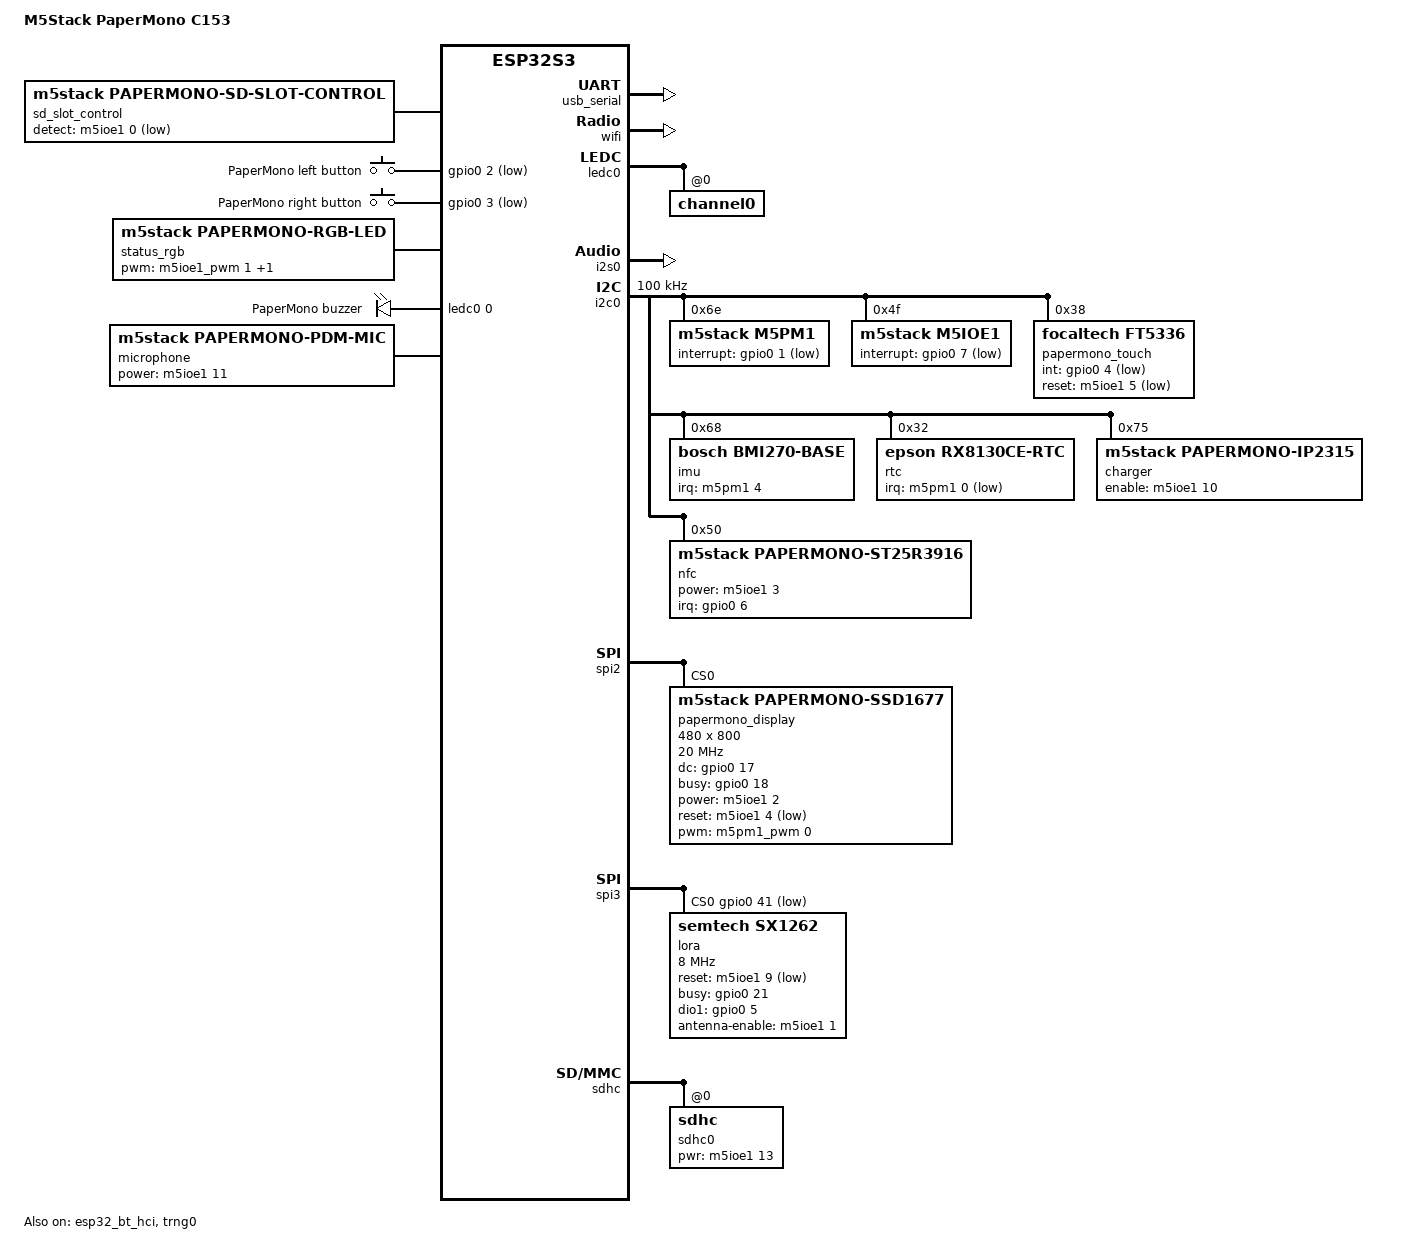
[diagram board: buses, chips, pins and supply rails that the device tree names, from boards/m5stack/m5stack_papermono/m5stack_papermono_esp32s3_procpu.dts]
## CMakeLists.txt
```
# SPDX-License-Identifier: MIT

cmake_minimum_required(VERSION 3.20.0)

list(APPEND BOARD_ROOT ${CMAKE_CURRENT_SOURCE_DIR})

find_package(Zephyr REQUIRED HINTS $ENV{ZEPHYR_BASE})
project(papermono_lvgl)

include(cmake/esp32_ble_compat.cmake)
include(cmake/xtensa_irq_exit_compat.cmake)

if(CONFIG_BT_ESP32 AND (CONFIG_SOC_SERIES_ESP32S3 OR CONFIG_SOC_SERIES_ESP32C3))
  target_sources(app PRIVATE src/papermono_esp_radio_compat.c)
endif()

if(CONFIG_WIFI_ESP32 AND CONFIG_SOC_SERIES_ESP32S3)
  target_sources(app PRIVATE src/papermono_esp_wifi_compat.c)
  target_link_options(app PUBLIC -Wl,--wrap=ap_try_sa_query_process)
endif()

target_sources(app PRIVATE
  src/main.c
  src/papermono_app.c
  src/papermono_interaction.c
  src/papermono_touch_gesture.c
  src/papermono_touchpad.c
  src/papermono_frontlight.c
  src/papermono_status_led.c
  src/papermono_content_store.c
  src/papermono_fs_read.c
  src/papermono_archive_safety.c
  src/papermono_content_validation.c
  src/papermono_display_scheduler.c
  src/papermono_refresh_policy.c
  src/papermono_epub.c
  src/papermono_reader.c
  src/papermono_reader_cache.c
  src/papermono_personal_data.c
  src/papermono_organizer.c
  src/papermono_weread.c
  src/papermono_weread_view.c
  src/papermono_info_provider.c
  src/papermono_text_codec.c
  src/papermono_text_layout.c
  src/papermono_zip_reader.c
  src/generated/papermono_gbk_table.c
  src/generated/papermono_cjk_16.c
  src/generated/papermono_clock_148.c
  src/generated/papermono_reading_24.c
  src/generated/papermono_heading_48.c
  src/generated/papermono_state_40.c
  src/generated/papermono_icon_library.c
  src/generated/papermono_icon_weread.c
  src/generated/papermono_icon_calendar.c
  src/generated/papermono_selftest_epub.c
  src/generated/papermono_icon_tasks.c
  src/generated/papermono_icon_notes.c
  src/generated/papermono_icon_remote.c
  src/generated/papermono_icon_content.c
  src/generated/papermono_icon_info.c
  src/generated/papermono_icon_tools.c
  src/generated/papermono_icon_settings.c
  src/generated/papermono_icon_power.c
  src/generated/papermono_icon_sleep.c
  src/generated/papermono_icon_bookmark.c
  src/generated/papermono_icon_document.c
  src/generated/papermono_icon_wifi.c
  src/generated/papermono_icon_bluetooth.c
  src/generated/papermono_icon_restore.c
  src/generated/papermono_icon_book_small.c
  src/generated/papermono_icon_headphones_small.c
  src/generated/papermono_icon_bookmark_small.c
  src/generated/papermono_icon_settings_small.c
  src/generated/papermono_icon_sun_small.c
  src/generated/papermono_icon_toc_small.c
  src/generated/papermono_icon_return_small.c
  src/generated/papermono_icon_library_small.c
  src/generated/papermono_icon_document_small.c
  src/generated/papermono_icon_info_small.c
  src/generated/papermono_icon_library_focal.c
  src/generated/papermono_icon_weread_focal.c
  src/generated/papermono_icon_calendar_focal.c
  src/generated/papermono_icon_tasks_focal.c
  src/generated/papermono_icon_document_focal.c
  src/generated/papermono_icon_bookmark_focal.c
  src/generated/papermono_icon_wifi_focal.c
  src/papermono_settings.c
  src/papermono_power_state.c
  src/m5ioe1.c
  src/m5ioe1_pwm.c
  src/m5pm1.c
  src/m5pm1_pwm.c
  src/papermono_rgb_led.c
  src/papermono_ssd1677.c
  src/papermono_ui.c
  src/papermono_almanac.c
  src/papermono_quotes.c
  src/papermono_wifi_input.c
)

target_sources_ifdef(CONFIG_PAPERMONO_FT6336 app PRIVATE
  src/papermono_ft6336.c
  src/papermono_touch_transform.c
)

target_sources_ifdef(CONFIG_PAPERMONO_CONTENT_SERVER app PRIVATE
  src/papermono_content_server.c
  src/papermono_http_codec.c
)

target_sources_ifdef(CONFIG_PAPERMONO_TIME_SYNC app PRIVATE
  src/papermono_time_sync.c
)

target_sources_ifdef(CONFIG_PAPERMONO_BLE_HID app PRIVATE
  src/papermono_hid.c
  src/papermono_hid_reports.c
)

target_sources_ifdef(CONFIG_PAPERMONO_RSS app PRIVATE
  src/papermono_rss.c
  src/papermono_rss_table.c
)

target_sources_ifdef(CONFIG_PAPERMONO_WEATHER app PRIVATE
  src/papermono_weather.c
)

target_sources_ifdef(CONFIG_PAPERMONO_BLE_SYNC app PRIVATE
  src/papermono_sync.c
)

target_sources_ifdef(CONFIG_PAPERMONO_BLE_MIC app PRIVATE
  src/papermono_adpcm.c
  src/papermono_ble_mic.c
)

if(CONFIG_PAPERMONO_CONTENT_SERVER)
  set(papermono_generated_dir ${ZEPHYR_BINARY_DIR}/include/generated)
  generate_inc_file_for_target(app
    src/web/content-center.html
    ${papermono_generated_dir}/papermono_content_center.html.inc
  )
  zephyr_linker_sources(SECTIONS sections-rom.ld)
endif()

target_sources_ifdef(CONFIG_PAPERMONO_DRIVER_SELFTEST app PRIVATE
  src/papermono_driver_selftest.c
)

target_sources_ifdef(CONFIG_PAPERMONO_IP2315 app PRIVATE
  src/papermono_ip2315.c
)

target_sources_ifdef(CONFIG_PAPERMONO_ST25R3916 app PRIVATE
  src/papermono_st25r3916.c
)

target_sources_ifdef(CONFIG_PAPERMONO_PDM_MIC app PRIVATE
  src/papermono_pdm_mic.c
)

target_sources_ifdef(CONFIG_PAPERMONO_RX8130_TIMER app PRIVATE
  src/papermono_rx8130.c
)

target_sources_ifdef(CONFIG_PAPERMONO_POWER_CONTROL app PRIVATE
  src/papermono_power.c
)

zephyr_include_directories(include)
target_include_directories(app PRIVATE include)
```

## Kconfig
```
mainmenu "M5Stack PaperMono LVGL application"

source "Kconfig.zephyr"

menu "PaperMono application"

config PAPERMONO_MFD_INIT_PRIORITY
	int
	default 60
	range 51 84
	help
	  Initialize I2C-backed board controllers after the ESP32 I2C bus and
	  before their child functions and the display.

config PAPERMONO_MFD_CHILD_INIT_PRIORITY
	int
	default 70
	range 61 84
	help
	  Initialize M5IOE1/M5PM1 child functions after their parent devices.

config PAPERMONO_BOARD_FUNCTION_INIT_PRIORITY
	int
	default 80
	range 71 84
	help
	  Initialize board functions that consume M5IOE1/M5PM1 child devices.

config PAPERMONO_PARTIAL_REFRESH
	bool "Use the SSD1677 built-in monochrome partial-refresh waveform"
	default y
	help
	  Use the controller's OTP partial-refresh sequence after a successful
	  monochrome full refresh has established the differential RAM baseline.

config PAPERMONO_PARTIAL_REFRESH_LIMIT
	int "Partial refreshes before a maintenance full refresh"
	default 10
	range 1 20
	depends on PAPERMONO_PARTIAL_REFRESH
	help
	  Maximum number of consecutive partial refreshes. The following update
	  uses a full refresh to limit ghosting and DC imbalance. Keep this at the
	  panel vendor's recommendation (10) unless a long ghosting soak proves a
	  different value safe.

config PAPERMONO_MAINTENANCE_OPPORTUNISTIC
	bool "Perform the maintenance full refresh at a natural page transition"
	default n
	depends on PAPERMONO_PARTIAL_REFRESH
	help
	  When one partial refresh remains before PAPERMONO_PARTIAL_REFRESH_LIMIT,
	  perform the maintenance full refresh on the next non-FAST render (page
	  navigation, menu, page exit, sleep) instead of waiting for the next FAST
	  page turn. It moves the visible full flash to a transition the user
	  already expects; it does not raise the refresh limit. Continuous reading
	  with no page transition still reaches the normal limit.

config PAPERMONO_FULL_REFRESH_COMPACT
	bool "Use the single-command SSD1677 Mode-1 full refresh"
	default n
	depends on PAPERMONO_PARTIAL_REFRESH
	help
	  Replace the two-stage 0xF8 synchronize plus 0x14 OTP refresh with one
	  self-contained 0xF4 Mode-1 sequence. It removes one activation and a
	  redundant 48 KiB RAM write, but changes the panel command sequence and
	  must be re-validated on hardware before enabling.

config PAPERMONO_PARTIAL_DEMO
	bool "Periodically update the dashboard for partial-refresh HIL testing"
	default n
	depends on PAPERMONO_PARTIAL_REFRESH
	help
	  Update the clock and footer repeatedly so the physical partial-refresh
	  path can be verified. Keep this disabled in normal firmware builds.

config PAPERMONO_PARTIAL_DEMO_INTERVAL_MS
	int "Partial-refresh demo interval in milliseconds"
	default 3000
	range 1000 60000
	depends on PAPERMONO_PARTIAL_DEMO

config PAPERMONO_PARTIAL_DEMO_UPDATES
	int "Number of demo updates"
	default 12
	range 1 20
	depends on PAPERMONO_PARTIAL_DEMO

config PAPERMONO_FT6336
	bool "PaperMono FT6336 touch controller"
	default y
	depends on INPUT && I2C && GPIO
	select INPUT_TOUCH
	help
	  Use the C153-specific FT6336 bring-up and polling path.  The controller
	  shares the board I2C bus, while its power/reset lines are provided by
	  M5IOE1 and its active-low wake interrupt is ESP32-S3 GPIO4.  The driver
	  keeps GPIO4 pulled up in polling mode, retries the post-reset probe, and
	  releases stale contacts after transient I2C failures.

config PAPERMONO_FT6336_POLL_INTERVAL_MS
	int "FT6336 polling interval in milliseconds"
	default 8
	range 5 50
	depends on PAPERMONO_FT6336
	help
	  Sample touch from a dedicated driver thread. Eight milliseconds matches
	  the proven CrossMux C153 input cadence and catches short taps reliably.

config PAPERMONO_FT6336_THREAD_STACK_SIZE
	int "FT6336 polling thread stack size"
	default 4096
	range 2048 8192
	depends on PAPERMONO_FT6336
	help
	  Stack used by the dedicated polling thread and synchronous Zephyr input
	  callbacks. The global system workqueue is intentionally not used.

config PAPERMONO_FT6336_THREAD_PRIORITY
	int "FT6336 polling thread priority"
	default 8
	range 0 14
	depends on PAPERMONO_FT6336
	help
	  Preemptible Zephyr priority used by the touch polling thread.

config PAPERMONO_HIL_FAKE_UNFORMATTED
	bool "HIL: present the TF format UI without touching the card"
	default n
	depends on FILE_SYSTEM
	help
	  Verification-only option for the on-device acceptance walkthrough.
	  The store reports an unformatted card so the system page exposes the
	  format entry, and the confirmation is simulated instead of running
	  fs_mkfs, so the mounted card and its files are left intact. Never
	  enable this in a shipped image.

config PAPERMONO_TF_FORMAT_WHEN_UNFORMATTED
	bool "Format an unformatted TF card at boot (DESTRUCTIVE)"
	default n
	depends on FILE_SYSTEM_MKFS && FS_FATFS_MKFS
	help
	  Create a fresh super-floppy FAT filesystem on the TF card when it
	  carries no filesystem this firmware can mount (for example a card that
	  shipped exFAT or GPT-partitioned). Every partition and file on the card
	  is erased.

	  Do not enable this in a normal build: it is meant for first-time
	  provisioning of a known-blank card, mirroring the explicit-opt-in HIL
	  profiles used for the other risky board actions.

config PAPERMONO_DRIVER_SELFTEST
	bool "Run the interactive PaperMono driver HIL self-test"
	default n
	depends on DISPLAY && INPUT && SENSOR && RTC && LED && LORA && WIFI
	depends on DISK_ACCESS && PWM
	depends on PAPERMONO_IP2315 && PAPERMONO_ST25R3916 && PAPERMONO_PDM_MIC
	help
	  Exercise all board devices used by the fixed self-test image, including
	  the optional charger, NFC and microphone drivers, then log touch and
	  button events. Keep this disabled in normal firmware builds.

config PAPERMONO_INTERACTIVE_UI
	bool "Enable the PaperMono personal information terminal UI"
	default y
	depends on INPUT && !PAPERMONO_DRIVER_SELFTEST && !PAPERMONO_PARTIAL_DEMO
	help
	  Enable the application router, Chinese home/launcher, reader, content,
	  organizer, HID, information-card, tools, power, and settings pages.
	  Input callbacks only enqueue actions; LVGL rendering and the physical
	  e-paper refresh remain serialized in the main thread.

config PAPERMONO_UI_AUTO_REFRESH_MINUTES
	int "Interactive UI automatic refresh interval in minutes"
	default 5
	range 0 60
	depends on PAPERMONO_INTERACTIVE_UI
	help
	  Refresh live RTC and PMIC values after this many idle minutes. Set to
	  zero to update only after a button or touch action. A longer interval
	  reduces e-paper activity and power use.

config PAPERMONO_UI_THREAD_PRIORITY
	int "Interactive UI thread priority"
	default 10
	range 1 14
	depends on PAPERMONO_INTERACTIVE_UI
	help
	  Priority applied when the main thread starts the UI. Keep the numeric
	  value greater than FT6336_THREAD_PRIORITY so LVGL layout cannot starve
	  touch polling while the display is being prepared.

config PAPERMONO_DISPLAY_INPUT_SETTLE_MS
	int "Input settle time after an e-paper refresh"
	default 32
	range 0 2000
	help
	  Defer input dispatch for this duration after SSD1677 BUSY clears. The
	  driver already waits for the physical refresh; 32 ms adds four touch
	  polling intervals without the former half-second navigation delay.

config PAPERMONO_UI_IDLE_SLEEP_DEFAULT_MINUTES
	int "Default inactivity timeout before touch-wake deep sleep"
	default 10
	range 0 30
	depends on PAPERMONO_INTERACTIVE_UI && PAPERMONO_POWER_CONTROL
	help
	  Initial default written to application settings. Runtime choices are
	  off, 1, 5, 10, or 30 minutes. Existing persisted settings take priority.

config PAPERMONO_CONTENT_SERVER
	bool "Local Wi-Fi content center"
	default y
	depends on PAPERMONO_INTERACTIVE_UI && WIFI && HTTP_SERVER
	help
	  Provide the authenticated local-only PaperMono HTTP API and SoftAP
	  provisioning flow. User content is streamed to the TF card transactionally;
	  network callbacks only enqueue UI refresh requests.

config PAPERMONO_TIME_SYNC
	bool "Calibrate system clock and RX8130 after Wi-Fi connects"
	default y
	depends on PAPERMONO_CONTENT_SERVER && SNTP && RTC
	help
	  Query an SNTP server from a dedicated background thread, keep the
	  system realtime clock in UTC, and store local wall time in RX8130 using
	  the configured timezone offset. Failures are retried without blocking UI.

config PAPERMONO_NTP_SERVER
	string "SNTP server"
	default "pool.ntp.org:123"
	depends on PAPERMONO_TIME_SYNC

config PAPERMONO_NTP_RETRY_COUNT
	int "SNTP attempts after each network connection"
	default 5
	range 1 10
	depends on PAPERMONO_TIME_SYNC

config PAPERMONO_BLE_HID
	bool "BLE HID media, presentation, and mouse remote"
	default y
	depends on PAPERMONO_INTERACTIVE_UI && BT && BT_PERIPHERAL && BT_SMP
	# The ESP controller is an HCI driver, so BT_CTLR_LE_ENC does not enable
	# its security support automatically. SMP needs the controller's AES event
	# handler as soon as the host starts pairing/encryption.
	select ESP32_BT_CTLR_LE_SECURITY_ENABLE if BT_ESP32 && (SOC_SERIES_ESP32S3 || SOC_SERIES_ESP32C3)
	help
	  Expose a standard composite HID-over-GATT device. Pairing and bonds use
	  Zephyr Settings; UI callbacks submit only compact HID reports.

config PAPERMONO_BLE_SYNC
	bool "Authenticated BLE small-data content sync"
	default y
	depends on PAPERMONO_BLE_HID
	help
	  Add a custom authenticated GATT transfer service for ICS, tasks-v1.json,
	  Markdown/TXT notes, and state-sized payloads. Book files remain on the
	  Wi-Fi path. GATT callbacks enqueue bounded chunks for a storage worker.

choice PAPERMONO_LORA_HIL_ACTION
	prompt "LoRa RF action during the driver self-test"
	default PAPERMONO_LORA_HIL_NONE
	depends on PAPERMONO_DRIVER_SELFTEST
	help
	  Select an explicit RF test action. The default only configures the
	  SX1262 and never transmits. Enable transmit only after confirming that
	  the selected frequency and power are legal at the test location.

config PAPERMONO_LORA_HIL_NONE
	bool "Configure only (no RF transmit or receive window)"

config PAPERMONO_LORA_HIL_RX
	bool "Open a finite receive window"

config PAPERMONO_LORA_HIL_TX
	bool "Transmit one HIL packet"

endchoice

config PAPERMONO_LORA_HIL_FREQUENCY_HZ
	int "LoRa HIL frequency in Hz"
	default 868000000
	range 150000000 960000000
	depends on PAPERMONO_LORA_HIL_RX || PAPERMONO_LORA_HIL_TX

config PAPERMONO_LORA_HIL_RX_TIMEOUT_MS
	int "LoRa HIL receive timeout in milliseconds"
	default 10000
	range 100 60000
	depends on PAPERMONO_LORA_HIL_RX

config PAPERMONO_LORA_HIL_TX_POWER_DBM
	int "LoRa HIL transmit power in dBm"
	default 10
	range -9 22
	depends on PAPERMONO_LORA_HIL_TX

config PAPERMONO_LORA_HIL_TX_PAYLOAD
	string "LoRa HIL transmit payload"
	default "PAPERMONO-ZEPHYR-HIL"
	depends on PAPERMONO_LORA_HIL_TX

config PAPERMONO_IP2315
	bool "IP2315 USB fast-charger support"
	default y
	select CHARGER
	help
	  Expose the PaperMono IP2315 as a Zephyr charger device. The charger is
	  connected to the system I2C bus only while an operation is in progress.

config PAPERMONO_ST25R3916
	bool "ST25R3916 NFC front-end support"
	default y
	depends on I2C && GPIO
	help
	  Expose the board-integrated ST25R3916 power, identity, register,
	  direct-command and interrupt interfaces.

module = PAPERMONO_ST25R3916
module-str = papermono_st25r3916
source "subsys/logging/Kconfig.template.log_config"

config PAPERMONO_PDM_MIC
	bool "PaperMono PDM microphone support"
	default y
	depends on SOC_ESP32S3 && I2S
	help
	  Capture 16-bit PCM from the board microphone through ESP32-S3 I2S0
	  PDM-to-PCM hardware filtering while retaining Zephyr DMA ownership.

module = PAPERMONO_PDM_MIC
module-str = papermono_pdm_mic
source "subsys/logging/Kconfig.template.log_config"

config PAPERMONO_BLE_MIC
	bool "BLE ATVV voice microphone streaming"
	default y
	depends on PAPERMONO_BLE_HID && PAPERMONO_PDM_MIC
	help
	  Add the ATVV v1.0 voice service used by Bluetooth voice remotes.
	  The device captures 16 kHz PCM from the PDM microphone, encodes IMA
	  ADPCM in 120-byte frames and notifies an encrypted, subscribed host
	  while the user holds the remote page's voice area. The service shares
	  the existing BLE HID connection and requires no extra pairing.

config PAPERMONO_BLE_MIC_SESSION_LIMIT_MS
	int "Maximum BLE voice session length in milliseconds"
	default 60000
	range 5000 300000
	depends on PAPERMONO_BLE_MIC
	help
	  Stop the microphone and notify the host after this much continuous
	  capture. This bounds microphone power, memory use and accidental
	  open-microphone sessions.

config PAPERMONO_BLE_MIC_THREAD_PRIORITY
	int "BLE voice capture thread priority"
	default 9
	range 1 14
	depends on PAPERMONO_BLE_MIC
	help
	  Priority of the PDM capture and ADPCM worker. Keep it numerically
	  greater than the Bluetooth RX thread so ACL processing is not starved,
	  and lower than the interactive UI thread so 15 ms audio frames are not
	  delayed by LVGL layout.

config PAPERMONO_BLE_MIC_THREAD_STACK_SIZE
	int "BLE voice capture thread stack size"
	default 2048
	range 1024 8192
	depends on PAPERMONO_BLE_MIC

module = PAPERMONO_BLE_MIC
module-str = papermono_ble_mic
source "subsys/logging/Kconfig.template.log_config"

config PAPERMONO_RX8130_TIMER
	bool "RX8130 countdown-timer extension"
	default y
	depends on I2C && RTC
	help
	  Add the RX8130 countdown timer and timer-interrupt controls that are not
	  part of Zephyr's generic RTC alarm API. This is used for PMIC-controlled
	  timed wakeup.

config PAPERMONO_POWER_CONTROL
	bool "PaperMono board power and wake control"
	default y
	depends on SOC_ESP32S3
	help
	  Provide reusable ESP32-S3 deep-sleep and M5PM1 shutdown paths. Entering
	  a low-power state is always an explicit application action.

choice PAPERMONO_POWER_HIL_ACTION
	prompt "Power-state action after the driver self-test"
	default PAPERMONO_POWER_HIL_NONE
	depends on PAPERMONO_DRIVER_SELFTEST && PAPERMONO_POWER_CONTROL
	help
	  Select an intentionally destructive HIL action. Default firmware never
	  enters deep sleep or powers the board off automatically.

config PAPERMONO_POWER_HIL_NONE
	bool "No power-state action"

config PAPERMONO_POWER_HIL_DEEP_SLEEP_TIMER
	bool "ESP32-S3 deep sleep with timer wake"
	depends on POWEROFF

config PAPERMONO_POWER_HIL_DEEP_SLEEP_TOUCH
	bool "ESP32-S3 deep sleep with touch wake"
	depends on POWEROFF

config PAPERMONO_POWER_HIL_DEEP_SLEEP_POWER_BUTTON
	bool "ESP32-S3 deep sleep with M5PM1 power-button IRQ wake"
	depends on POWEROFF

config PAPERMONO_POWER_HIL_SHUTDOWN_BUTTON
	bool "M5PM1 shutdown; wake with the power button"

config PAPERMONO_POWER_HIL_SHUTDOWN_RTC
	bool "M5PM1 shutdown with RX8130 timer wake"
	depends on PAPERMONO_RX8130_TIMER

config PAPERMONO_POWER_HIL_SHUTDOWN_IMU
	bool "M5PM1 shutdown with BMI270 motion wake"

endchoice

config PAPERMONO_POWER_HIL_DELAY_SECONDS
	int "Delay before the selected power HIL action"
	default 3
	range 1 30
	depends on PAPERMONO_DRIVER_SELFTEST && PAPERMONO_POWER_CONTROL && \
		!PAPERMONO_POWER_HIL_NONE

config PAPERMONO_POWER_HIL_WAKE_SECONDS
	int "Automatic wake delay"
	default 10
	range 2 3600
	depends on PAPERMONO_DRIVER_SELFTEST && PAPERMONO_POWER_CONTROL
	depends on PAPERMONO_POWER_HIL_DEEP_SLEEP_TIMER || \
		PAPERMONO_POWER_HIL_SHUTDOWN_RTC

config PAPERMONO_POWER_HIL_REPEAT_COUNT
	int "Verified deep-sleep wake cycles"
	default 1
	range 1 50
	depends on PAPERMONO_DRIVER_SELFTEST && PAPERMONO_POWER_CONTROL
	depends on PAPERMONO_POWER_HIL_DEEP_SLEEP_TIMER || \
		PAPERMONO_POWER_HIL_DEEP_SLEEP_TOUCH || \
		PAPERMONO_POWER_HIL_DEEP_SLEEP_POWER_BUTTON
	help
	  Repeat an ESP32-S3 deep-sleep HIL cycle only after the selected wake
	  source and a successful display refresh are both observed. Progress is
	  kept in M5PM1 RTC RAM so USB disconnect/reconnect does not lose the
	  count. Use 50 for the touch-wake endurance acceptance profile.

config PAPERMONO_POWER_HIL_USB_RECONNECT_DELAY_MS
	int "USB console observation delay at HIL startup"
	default 0
	range 0 15000
	depends on PAPERMONO_DRIVER_SELFTEST && PAPERMONO_POWER_CONTROL && \
		!PAPERMONO_POWER_HIL_NONE
	help
	  Keep the application quiet at the start of every power HIL boot so a
	  USB-only host can enumerate and reopen the ESP32-S3 USB Serial/JTAG
	  console before wake and display-refresh milestones are logged. This does
	  not affect the normal firmware.

config PAPERMONO_WEATHER
	bool "Open-Meteo weather fetch"
	depends on DNS_RESOLVER
	default y
	help
	  Fetch current weather and the next eight hourly temperatures from
	  Open-Meteo over HTTPS using the pinned Let's Encrypt root.

config PAPERMONO_RSS
	bool "RSS news reader"
	depends on NET_SOCKETS
	default y
	help
	  Fetch an RSS 2.0 feed over plain HTTP and show the newest items in
	  the news page. The URL is a string setting so it can change without
	  rebuilding the firmware.

config PAPERMONO_RSS_URL
	string "Default RSS feed URL"
	default ""
	depends on PAPERMONO_RSS
	help
	  Feed used until the user overrides it in Settings.

config PAPERMONO_RSS_AI_URL
	string "Default AI news RSS feed URL"
	default ""
	depends on PAPERMONO_RSS
	help
	  Optional second built-in subscription. Runtime subscription lists are
	  managed independently and stored atomically on the SD card.

endmenu
```

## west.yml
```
manifest:
  remotes:
    - name: zephyrproject-rtos
      url-base: https://github.com/zephyrproject-rtos

  projects:
    - name: zephyr
      remote: zephyrproject-rtos
      revision: v4.4.1
      import:
        name-allowlist:
          - fatfs
          - hal_espressif
          - lvgl
          - mbedtls
          - mcuboot
          - tf-psa-crypto

  self:
    path: zephyr-mono
```

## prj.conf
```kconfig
# PaperMono board peripherals
CONFIG_GPIO=y
CONFIG_I2C=y
CONFIG_SPI=y
CONFIG_PWM=y
CONFIG_I2S=y
CONFIG_DISPLAY=y
CONFIG_DISPLAY_LOG_LEVEL_INF=y
CONFIG_LED=y
CONFIG_INPUT=y
CONFIG_INPUT_GPIO_KEYS=y
CONFIG_INPUT_FT5336=n
CONFIG_PAPERMONO_FT6336=y
# PaperMono already turns completed touch sequences into application events.
# Process Zephyr input callbacks in the dedicated 4 KiB FT6336 polling thread.
# This avoids both the low-priority generic input queue and the global 1 KiB
# system workqueue while Wi-Fi/BLE and e-paper work are active. The generic
# LVGL pointer is unused and would mirror the same events into a second queue.
CONFIG_INPUT_MODE_SYNCHRONOUS=y
CONFIG_LV_Z_POINTER_FROM_CHOSEN_TOUCH=n
CONFIG_SENSOR=y
CONFIG_BMI270=y
CONFIG_BMI270_TRIGGER_GLOBAL_THREAD=y
CONFIG_RTC=y
CONFIG_RTC_RX8130CE=y
CONFIG_RTC_ALARM=y
CONFIG_RTC_UPDATE=y
CONFIG_RTC_CALIBRATION=y
CONFIG_RTC_INIT_PRIORITY=75
CONFIG_GPIO_HOGS_INIT_PRIORITY=65
CONFIG_DISK_ACCESS=y
CONFIG_FILE_SYSTEM=y
CONFIG_FAT_FILESYSTEM_ELM=y
CONFIG_FS_FATFS_MOUNT_MKFS=n
# fs_mkfs() is linked in so an explicitly-confirmed user action can provision a
# card that has no mountable FAT (many cards ship exFAT/GPT). Nothing formats
# automatically unless PAPERMONO_TF_FORMAT_WHEN_UNFORMATTED is enabled.
CONFIG_FILE_SYSTEM_MKFS=y
CONFIG_FS_FATFS_MKFS=y
CONFIG_FS_FATFS_LFN=y
CONFIG_FS_FATFS_LFN_MODE_STACK=y
CONFIG_FS_FATFS_MAX_LFN=255
CONFIG_FS_FATFS_CODEPAGE=936
CONFIG_FS_FATFS_REENTRANT=y
CONFIG_FS_FATFS_NUM_FILES=6
CONFIG_FS_FATFS_NUM_DIRS=4
CONFIG_LORA=y
CONFIG_CRC=y
CONFIG_LORA_MODULE_BACKEND_NATIVE=y
# The legacy loramac-node selector defaults on for every SX1262 devicetree
# node even when that optional module is absent. The native driver below is
# independent of it.
CONFIG_LORA_SX126X=n

# ESP32-S3 Wi-Fi station support. Network credentials are never compiled into
# the firmware; the driver can scan immediately and applications may connect
# through Zephyr's Wi-Fi management API.
CONFIG_NETWORKING=y
CONFIG_NET_IPV4=y
CONFIG_NET_IPV6=n
# AP provisioning and the station connection overlap briefly. Zephyr keeps
# IPv4 interface state in a fixed-size pool, so AP+STA requires two slots.
CONFIG_NET_IF_MAX_IPV4_COUNT=2
CONFIG_WIFI=y
CONFIG_WIFI_ESP32=y
CONFIG_WIFI_USAGE_MODE_STA_AP=y
CONFIG_WIFI_NM=y
CONFIG_WIFI_LOG_LEVEL_INF=y
CONFIG_NET_TCP=y
CONFIG_NET_SOCKETS=y
CONFIG_NET_DHCPV4=y
CONFIG_NET_DHCPV4_SERVER=y
CONFIG_HTTP_SERVER=y
CONFIG_HTTP_SERVER_VERSION_2=n
# Two clients, so one connection that is opened and then stalls (a suspended
# browser tab, a client killed mid-upload) cannot lock every other browser out.
# Zephyr removes the listening socket from its poll set while `concurrent`
# clients are connected and refreshes the inactivity timer on any received
# byte, so a single wedged connection used to block the content center until
# the 10 s idle timeout - which a slow sender can avoid indefinitely.
CONFIG_HTTP_SERVER_MAX_CLIENTS=2
CONFIG_HTTP_SERVER_CLIENT_BUFFER_SIZE=2048
CONFIG_HTTP_SERVER_STACK_SIZE=6144
CONFIG_HTTP_SERVER_RESOURCE_WILDCARD=y
CONFIG_HTTP_SERVER_CAPTURE_HEADERS=y
# The Wi-Fi sockets service and HTTP server each own one control eventfd.
CONFIG_ZVFS_EVENTFD_MAX=2
CONFIG_HTTP_SERVER_CAPTURE_HEADER_COUNT=7
CONFIG_HTTP_SERVER_CAPTURE_HEADER_BUFFER_SIZE=1024
# The web client uses base64url for names, so 255 UTF-8 bytes fit in 340 bytes.
CONFIG_HTTP_SERVER_MAX_HEADER_LEN=512
CONFIG_JSON_LIBRARY=y
CONFIG_SNTP=y
CONFIG_DNS_RESOLVER=y
CONFIG_NET_MGMT_EVENT_QUEUE_SIZE=16
CONFIG_NET_MGMT_EVENT_QUEUE_TIMEOUT=5000

# Standard composite BLE HID remote. ESP32 software coexistence is selected
# automatically when both the Wi-Fi and Bluetooth controllers are enabled.
CONFIG_BT=y
CONFIG_BT_PERIPHERAL=y
CONFIG_BT_SMP=y
CONFIG_BT_SETTINGS=y
CONFIG_BT_BONDABLE=y
CONFIG_BT_MAX_CONN=1
# Prefer a 15 ms HID connection interval; the central chooses the applied value.
CONFIG_BT_PERIPHERAL_PREF_MIN_INT=12
CONFIG_BT_PERIPHERAL_PREF_MAX_INT=12
CONFIG_BT_MAX_PAIRED=4
# SMP completion, bond persistence and restored GATT subscriptions run on the
# Bluetooth RX workqueue. The 1200-byte default overflows after Mac pairing.
CONFIG_BT_RX_STACK_SIZE=2048
# Match the ESP32-S3 controller's ACL packet count. With the default (10) the
# host logs "Num of Controller's ACL packets != ACL bt_conn_tx contexts
# (12 != 10)" and can run out of TX contexts under HID load, dropping reports.
CONFIG_BT_BUF_ACL_TX_COUNT=12
CONFIG_BT_DEVICE_NAME="PaperMono C153"
CONFIG_BT_DEVICE_APPEARANCE=960
CONFIG_BT_BAS=y
CONFIG_BT_DIS=y

# BLE voice streaming sends one 120-byte ATT notification per 15 ms frame.
# A 123-byte ATT MTU is the smallest value that still carries one complete
# frame in one packet (120 payload + 3 ATT header), and 127-byte ACL buffers
# add the 4-byte L2CAP header without fragmenting it. Larger values only cost
# internal DRAM: the previous 65-byte MTU fragmented every frame, while 247
# bytes pushed the internal DRAM budget over its 85% limit.
CONFIG_BT_L2CAP_TX_MTU=123
CONFIG_BT_BUF_ACL_TX_SIZE=127
CONFIG_BT_BUF_ACL_RX_SIZE=127
CONFIG_BT_AUTO_DATA_LEN_UPDATE=y
CONFIG_BT_AUTO_PHY_PERIPHERAL_2M=y

# Keep the Wi-Fi adapter and packet allocations out of scarce internal DRAM.
CONFIG_ESP_SPIRAM=y
CONFIG_SPIRAM_MODE_OCT=y
CONFIG_ESP_WIFI_HEAP_SPIRAM=y
CONFIG_ESP32_WIFI_NET_ALLOC_SPIRAM=y
CONFIG_COMMON_LIBC_MALLOC_ARENA_SIZE=8192
# The BLE voice buffers and capture stack are internal-DRAM resident. The
# application itself allocates almost nothing from the kernel heap (LVGL has
# its own PSRAM pool, Wi-Fi allocations use the ESP PSRAM heaps), so 52 KiB
# keeps allocation headroom while leaving the internal budget below 85%.
CONFIG_HEAP_MEM_POOL_SIZE=53248

# LVGL renders one complete monochrome frame. The EPD driver groups each LVGL
# draw cycle into one physical full or partial refresh.
CONFIG_LVGL=y
CONFIG_LV_COLOR_DEPTH_1=y
CONFIG_LV_Z_FULL_REFRESH=y
CONFIG_LV_Z_VDB_SIZE=100
CONFIG_LV_Z_MEM_POOL_SIZE=65536
CONFIG_LV_Z_MEMORY_POOL_CUSTOM_SECTION=y
CONFIG_LV_Z_VDB_CUSTOM_SECTION=y
CONFIG_LV_USE_LABEL=y
CONFIG_LV_FONT_MONTSERRAT_14=y
CONFIG_LV_FONT_MONTSERRAT_18=y
CONFIG_LV_FONT_MONTSERRAT_28=y
CONFIG_LV_FONT_MONTSERRAT_48=y
CONFIG_LV_FONT_FMT_TXT_LARGE=y
# The complete 1-bit Chinese font is linked from src/generated instead.
CONFIG_LV_FONT_SOURCE_HAN_SANS_SC_16_CJK=n

# Persistent application settings use the board's 192 KiB storage partition.
CONFIG_FLASH=y
CONFIG_FLASH_MAP=y
CONFIG_NVS=y
CONFIG_SETTINGS=y
CONFIG_POWEROFF=y

# Production pairing and session credentials must use the ESP32-S3 TRNG.
CONFIG_TEST_RANDOM_GENERATOR=n
CONFIG_ENTROPY_DEVICE_RANDOM_GENERATOR=y
CONFIG_HARDWARE_DEVICE_CS_GENERATOR=y

# Diagnostics over the ESP32-S3 USB Serial/JTAG console.
CONFIG_LOG=y
CONFIG_LOG_MODE_DEFERRED=y
CONFIG_LOG_DEFAULT_LEVEL=3
CONFIG_LORA_LOG_LEVEL_INF=y
CONFIG_MAIN_STACK_SIZE=8192
# Status LED work reaches the PMIC/I2C driver and scheduler on this stack.
# The 1 KiB Zephyr default overflows during CONNECTING and corrupts the main
# thread's saved context. Keep headroom for radio and board work callbacks.
CONFIG_SYSTEM_WORKQUEUE_STACK_SIZE=4096
CONFIG_INIT_STACKS=y
CONFIG_STACK_SENTINEL=y
# The C153 exposes only the ESP32-S3 native USB console. Keep startup pending
# briefly so a host can reconnect after flashing/reset and receive the first
# display-initialization result instead of losing it during re-enumeration.
CONFIG_BOOT_DELAY=3000

# Weather: Open-Meteo over plain HTTP (display-only data, see docs/weather-source.md)
CONFIG_DNS_RESOLVER=y
CONFIG_PAPERMONO_WEATHER=y

# SoftAP keeps one router entry; the station also needs its DHCP default gateway.
CONFIG_NET_MAX_ROUTERS=3
```

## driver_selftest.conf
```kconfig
# Interactive hardware test; intentionally disabled by default in prj.conf.
CONFIG_PAPERMONO_DRIVER_SELFTEST=y
CONFIG_INPUT_LOG_LEVEL_INF=y
CONFIG_SENSOR_LOG_LEVEL_INF=y
CONFIG_RTC_LOG_LEVEL_INF=y
```

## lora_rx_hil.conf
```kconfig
# Finite receive-only SX1262 HIL profile. No RF packet is transmitted.
CONFIG_PAPERMONO_LORA_HIL_RX=y
CONFIG_PAPERMONO_LORA_HIL_FREQUENCY_HZ=868000000
CONFIG_PAPERMONO_LORA_HIL_RX_TIMEOUT_MS=10000
```

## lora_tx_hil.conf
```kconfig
# Explicit RF-emission profile. Verify local frequency/power rules before use.
CONFIG_PAPERMONO_LORA_HIL_TX=y
CONFIG_PAPERMONO_LORA_HIL_FREQUENCY_HZ=868000000
CONFIG_PAPERMONO_LORA_HIL_TX_POWER_DBM=10
CONFIG_PAPERMONO_LORA_HIL_TX_PAYLOAD="PAPERMONO-ZEPHYR-HIL"
```

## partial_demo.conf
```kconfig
# Default-off HIL behavior for validating SSD1677 partial refreshes.
CONFIG_PAPERMONO_PARTIAL_DEMO=y
CONFIG_PAPERMONO_PARTIAL_DEMO_INTERVAL_MS=3000
CONFIG_PAPERMONO_PARTIAL_DEMO_UPDATES=12
```

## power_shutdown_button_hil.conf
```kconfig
# Destructive HIL profile: M5PM1 shutdown until a power-button wake.
CONFIG_PAPERMONO_POWER_HIL_SHUTDOWN_BUTTON=y
CONFIG_PAPERMONO_POWER_HIL_DELAY_SECONDS=3
```

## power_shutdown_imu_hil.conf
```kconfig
# Destructive HIL profile: M5PM1 shutdown until BMI270 any-motion wake.
CONFIG_PAPERMONO_POWER_HIL_SHUTDOWN_IMU=y
CONFIG_PAPERMONO_POWER_HIL_DELAY_SECONDS=3
```

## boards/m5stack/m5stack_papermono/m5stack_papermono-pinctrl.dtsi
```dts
/* SPDX-License-Identifier: GPL-3.0-only */

#include <zephyr/dt-bindings/pinctrl/esp-pinctrl-common.h>
#include <zephyr/dt-bindings/pinctrl/esp32s3-pinctrl.h>
#include <zephyr/dt-bindings/pinctrl/esp32s3-gpio-sigmap.h>

&pinctrl {
	i2c0_default: i2c0_default {
		group1 {
			pinmux = <I2C0_SDA_GPIO47>,
				 <I2C0_SCL_GPIO48>;
			bias-pull-up;
			drive-open-drain;
			output-high;
		};
	};

	spim2_default: spim2_default {
		group1 {
			pinmux = <SPIM2_SCLK_GPIO15>;
		};

		group2 {
			pinmux = <SPIM2_MOSI_GPIO14>;
			output-low;
		};
	};

	spim3_default: spim3_default {
		group1 {
			pinmux = <SPIM3_MISO_GPIO40>,
				 <SPIM3_SCLK_GPIO39>;
		};

		group2 {
			pinmux = <SPIM3_MOSI_GPIO38>;
			output-low;
		};
	};

	sdhc0_default: sdhc0_default {
		group1 {
			/* CLK is GPIO13 and CMD is GPIO12 on this board. These two
			 * were swapped here, which is why the TF card never
			 * responded: the card received no clock and every command
			 * timed out at the host controller, so card initialisation
			 * failed with -ENOTSUP ("unknown card type") and all
			 * content features stayed disabled.
			 *
			 * Matches M5Stack's M5PaperMono-UserDemo
			 * (main/hal/hal_tf_card.cpp): TF_CLK_PIN = GPIO13,
			 * TF_CMD_PIN = GPIO12, D0..D3 = GPIO11..8.
			 */
			pinmux = <SDHC0_CLKOUT_GPIO13>,
				 <SDHC0_CMD_GPIO12>,
				 <SDHC0_DATA0_GPIO11>,
				 <SDHC0_DATA1_GPIO10>,
				 <SDHC0_DATA2_GPIO9>,
				 <SDHC0_DATA3_GPIO8>;
			bias-pull-up;
			output-high;
		};
	};

	ledc0_default: ledc0_default {
		group1 {
			pinmux = <LEDC_CH0_GPIO42>;
			output-enable;
		};
	};

	i2s0_pdm_default: i2s0_pdm_default {
		group1 {
			pinmux = <I2S0_I_WS_GPIO45>;
			output-enable;
		};

		group2 {
			pinmux = <I2S0_I_SD_GPIO46>;
			bias-disable;
		};
	};
};
```

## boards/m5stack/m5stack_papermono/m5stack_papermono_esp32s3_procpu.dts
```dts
/* SPDX-License-Identifier: GPL-3.0-only */

/dts-v1/;

#include <espressif/esp32s3/esp32s3_wroom_n16r8.dtsi>
#include <espressif/partitions_0x0_amp_16M.dtsi>
#include <zephyr/dt-bindings/input/input-event-codes.h>
#include <zephyr/dt-bindings/lora/sx126x.h>
#include <zephyr/dt-bindings/pwm/pwm.h>
#include "m5stack_papermono-pinctrl.dtsi"

/ {
	model = "M5Stack PaperMono C153";
	compatible = "m5stack,papermono";

	aliases {
		i2c-0 = &i2c0;
		display0 = &papermono_display;
		sw0 = &button_left;
		sw1 = &button_right;
		led0 = &status_rgb;
		lora0 = &lora;
		pwm-buzzer = &buzzer;
		microphone0 = &microphone;
	};

	chosen {
		zephyr,sram = &sram1;
		zephyr,console = &usb_serial;
		zephyr,shell-uart = &usb_serial;
		zephyr,flash = &flash0;
		zephyr,code-partition = &slot0_partition;
		zephyr,display = &papermono_display;
		zephyr,touch = &papermono_touch;
		zephyr,sdhc = &sdhc0;
	};

	sd_slot_control: sd-slot-control {
		compatible = "m5stack,papermono-sd-slot-control";
		detect-gpios = <&m5ioe1 0 (GPIO_PULL_UP | GPIO_ACTIVE_LOW)>;
	};

	buttons {
		compatible = "gpio-keys";
		debounce-interval-ms = <30>;

		button_left: button-left {
			label = "PaperMono left button";
			gpios = <&gpio0 2 (GPIO_PULL_UP | GPIO_ACTIVE_LOW | GPIO_INT_WAKEUP)>;
			zephyr,code = <INPUT_KEY_0>;
		};

		button_right: button-right {
			label = "PaperMono right button";
			gpios = <&gpio0 3 (GPIO_PULL_UP | GPIO_ACTIVE_LOW | GPIO_INT_WAKEUP)>;
			zephyr,code = <INPUT_KEY_1>;
		};
	};

	status_rgb: status-rgb {
		compatible = "m5stack,papermono-rgb-led";
		pmic = <&m5pm1>;
		pwms = <&m5ioe1_pwm 1 200000>,
		       <&m5ioe1_pwm 0 200000>;
		pwm-names = "green", "blue";
		status = "okay";
	};

	buzzer_pwm: buzzer-pwm {
		compatible = "pwm-leds";

		buzzer: buzzer {
			label = "PaperMono buzzer";
			pwms = <&ledc0 0 PWM_HZ(2000) PWM_POLARITY_NORMAL>;
		};
	};

	microphone: microphone {
		compatible = "m5stack,papermono-pdm-mic";
		i2s = <&i2s0>;
		power-gpios = <&m5ioe1 11 GPIO_ACTIVE_HIGH>;
		sample-rate-hz = <16000>;
		power-on-delay-ms = <20>;
		status = "okay";
	};

	wifi_ap: wifi-ap {
		compatible = "espressif,esp32-wifi";
		status = "okay";
	};
};

&usb_serial {
	status = "okay";
};

&wifi {
	status = "okay";
};

&esp32_bt_hci {
	status = "okay";
};

&trng0 {
	status = "okay";
};

&gpio0 {
	status = "okay";
};

&gpio1 {
	status = "okay";
};

&ledc0 {
	status = "okay";
	pinctrl-0 = <&ledc0_default>;
	pinctrl-names = "default";
	#address-cells = <1>;
	#size-cells = <0>;

	channel0@0 {
		reg = <0>;
		timer = <0>;
	};
};

&i2s0 {
	status = "okay";
	dmas = <&dma 2>;
	dma-names = "rx";
	pinctrl-0 = <&i2s0_pdm_default>;
	pinctrl-names = "default";
};

&i2c0 {
	status = "okay";
	clock-frequency = <I2C_BITRATE_STANDARD>;
	pinctrl-0 = <&i2c0_default>;
	pinctrl-names = "default";

	m5pm1: pmic@6e {
		compatible = "m5stack,m5pm1";
		reg = <0x6e>;
		gpio-controller;
		#gpio-cells = <2>;
		ngpios = <5>;
		gpio-reserved-ranges = <1 1>;
		interrupt-gpios = <&gpio0 1 (GPIO_PULL_UP | GPIO_ACTIVE_LOW | GPIO_INT_WAKEUP)>;
		irq-output-pin = <1>;
		status = "okay";

		lora-power-hog {
			gpio-hog;
			gpios = <2 GPIO_ACTIVE_HIGH>;
			output-high;
			line-name = "lora-power";
		};

		m5pm1_pwm: pwm {
			compatible = "m5stack,m5pm1-pwm";
			#pwm-cells = <2>;
			channels = <2>;
			status = "okay";
		};
	};

	m5ioe1: gpio-expander@4f {
		compatible = "m5stack,m5ioe1";
		reg = <0x4f>;
		gpio-controller;
		#gpio-cells = <2>;
		ngpios = <14>;
		interrupt-gpios = <&gpio0 7 GPIO_ACTIVE_LOW>;
		status = "okay";

		touch-power-hog {
			gpio-hog;
			gpios = <12 GPIO_ACTIVE_HIGH>;
			output-high;
			line-name = "touch-power";
		};

		m5ioe1_pwm: pwm {
			compatible = "m5stack,m5ioe1-pwm";
			#pwm-cells = <2>;
			channels = <4>;
			status = "okay";
		};
	};

	papermono_touch: touchscreen@38 {
		compatible = "focaltech,ft5336";
		reg = <0x38>;
		/* GPIO4 becomes an RTC EXT0 input in deep sleep. ESP32-S3 keeps
		 * digital-GPIO and RTC-IO pulls separately, so GPIO_INT_WAKEUP is
		 * required for the ESP32 GPIO driver to program the RTC pull-up too.
		 */
		int-gpios = <&gpio0 4
			(GPIO_ACTIVE_LOW | GPIO_PULL_UP | GPIO_INT_WAKEUP)>;
		reset-gpios = <&m5ioe1 5 GPIO_ACTIVE_LOW>;
		/* M5Stack UserDemo rotation 0 uses FT6336 raw x/y directly in the
		 * portrait 480x800 UI. CrossMux reaches the same mapping after its
		 * landscape-panel transform; do not apply another axis inversion here.
		 * The common screen dimensions are intentionally omitted because Zephyr
		 * uses them only when the corresponding inverted-* property is present.
		 */
		status = "okay";
	};

	imu: imu@68 {
		compatible = "bosch,bmi270-base", "bosch,bmi270";
		reg = <0x68>;
		irq-gpios = <&m5pm1 4 GPIO_ACTIVE_HIGH>;
		status = "okay";
	};

	rtc: rtc@32 {
		compatible = "epson,rx8130ce-rtc";
		reg = <0x32>;
		irq-gpios = <&m5pm1 0 GPIO_ACTIVE_LOW>;
		battery-switchover = <3>;
		status = "okay";
	};

	charger: charger@75 {
		compatible = "m5stack,papermono-ip2315";
		reg = <0x75>;
		enable-gpios = <&m5ioe1 10 GPIO_ACTIVE_HIGH>;
		pmic = <&m5pm1>;
		status = "okay";
	};

	nfc: nfc@50 {
		compatible = "m5stack,papermono-st25r3916";
		reg = <0x50>;
		power-gpios = <&m5ioe1 3 GPIO_ACTIVE_HIGH>;
		irq-gpios = <&gpio0 6 GPIO_ACTIVE_HIGH>;
		/* UserDemo waits 120 ms before the NFC library's 50 ms settle. */
		power-on-delay-ms = <170>;
		status = "okay";
	};
};

&spi2 {
	status = "okay";
	#address-cells = <1>;
	#size-cells = <0>;
	pinctrl-0 = <&spim2_default>;
	pinctrl-names = "default";

	papermono_display: ssd1677@0 {
		compatible = "m5stack,papermono-ssd1677";
		reg = <0>;
		spi-max-frequency = <20000000>;
		cs-gpios = <&gpio0 16 GPIO_ACTIVE_LOW>;
		dc-gpios = <&gpio0 17 GPIO_ACTIVE_HIGH>;
		busy-gpios = <&gpio0 18 GPIO_ACTIVE_HIGH>;
		power-gpios = <&m5ioe1 2 GPIO_ACTIVE_HIGH>;
		reset-gpios = <&m5ioe1 4 GPIO_ACTIVE_LOW>;
		pwms = <&m5pm1_pwm 0 200000>;
		pwm-names = "frontlight";
		width = <480>;
		height = <800>;
		status = "okay";
	};
};

&spi3 {
	status = "okay";
	#address-cells = <1>;
	#size-cells = <0>;
	cs-gpios = <&gpio0 41 GPIO_ACTIVE_LOW>;
	pinctrl-0 = <&spim3_default>;
	pinctrl-names = "default";

	lora: sx1262@0 {
		compatible = "semtech,sx1262";
		reg = <0>;
		spi-max-frequency = <8000000>;
		reset-gpios = <&m5ioe1 9 (GPIO_OPEN_DRAIN | GPIO_ACTIVE_LOW)>;
		busy-gpios = <&gpio0 21 GPIO_ACTIVE_HIGH>;
		dio1-gpios = <&gpio0 5 GPIO_ACTIVE_HIGH>;
		antenna-enable-gpios = <&m5ioe1 1 GPIO_ACTIVE_HIGH>;
		dio2-tx-enable;
		dio3-tcxo-voltage = <SX126X_DIO3_TCXO_3V0>;
		tcxo-power-startup-delay-ms = <5>;
		status = "okay";
	};
};

&sdhc {
	sdhc0: sdhc@0 {
		status = "okay";
		pinctrl-0 = <&sdhc0_default>;
		pinctrl-names = "default";
		max-bus-freq = <20000000>;
		bus-width = <4>;
		pwr-gpios = <&m5ioe1 13 GPIO_ACTIVE_HIGH>;
		/* Match the factory demo's TF rail stabilization interval. */
		power-delay-ms = <300>;

		mmc {
			compatible = "zephyr,sdmmc-disk";
			disk-name = "SD";
			status = "okay";
		};
	};
};

&dma {
	status = "okay";
};
```

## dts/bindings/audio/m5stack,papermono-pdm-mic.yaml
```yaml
# SPDX-License-Identifier: MIT

description: M5Stack PaperMono ESP32-S3 PDM microphone

compatible: "m5stack,papermono-pdm-mic"

include: base.yaml

properties:
  i2s:
    type: phandle
    required: true
    description: ESP32-S3 I2S controller used for PDM reception

  power-gpios:
    type: phandle-array
    required: true
    description: Active-high M5IOE1 microphone power enable

  sample-rate-hz:
    type: int
    required: true
    description: PCM output sample rate

  power-on-delay-ms:
    type: int
    default: 20
    description: Delay after changing microphone power
```

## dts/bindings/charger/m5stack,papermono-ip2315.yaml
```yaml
# SPDX-License-Identifier: MIT

description: PaperMono IP2315 USB fast battery charger with gated I2C access

compatible: "m5stack,papermono-ip2315"

include: [i2c-device.yaml]

properties:
  enable-gpios:
    type: phandle-array
    required: true
    description: Gate that connects the charger to the shared I2C bus

  pmic:
    type: phandle
    required: true
    description: M5PM1 device used to determine the active power source
```

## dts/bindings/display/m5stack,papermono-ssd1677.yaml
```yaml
# SPDX-License-Identifier: MIT

description: |
  SSD1677 e-paper controller as wired on the M5Stack PaperMono C153.
  Display power and reset are controlled by an M5IOE1 I2C expander.

compatible: "m5stack,papermono-ssd1677"

include:
  - spi-device.yaml
  - display-controller.yaml

properties:
  cs-gpios:
    type: phandle-array
    required: true
    description: Manually controlled active-low SPI chip select

  dc-gpios:
    type: phandle-array
    required: true
    description: Command/data select, high for data

  busy-gpios:
    type: phandle-array
    required: true
    description: Active-high SSD1677 BUSY signal

  power-gpios:
    type: phandle-array
    required: true
    description: Panel power enable controlled by M5IOE1

  reset-gpios:
    type: phandle-array
    required: true
    description: Active-low panel reset controlled by M5IOE1

  pwms:
    type: phandle-array
    required: true
    description: M5PM1 PWM0 driving the panel front light

  pwm-names:
    type: string-array
    required: true
    description: Must contain frontlight
```

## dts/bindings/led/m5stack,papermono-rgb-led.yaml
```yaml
# SPDX-License-Identifier: MIT

description: Three-channel status LED wired across M5PM1 and M5IOE1

compatible: "m5stack,papermono-rgb-led"

include: base.yaml

properties:
  pmic:
    type: phandle
    required: true
    description: M5PM1 providing the red LED output

  pwms:
    type: phandle-array
    required: true
    description: M5IOE1 PWM channels for green and blue

  pwm-names:
    type: string-array
    required: true
    description: Must contain green and blue
```

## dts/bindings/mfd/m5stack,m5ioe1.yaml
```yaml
# SPDX-License-Identifier: MIT

description: M5Stack M5IOE1 I2C GPIO and peripheral expander

compatible: "m5stack,m5ioe1"

include: [gpio-controller.yaml, i2c-device.yaml]

properties:
  "#gpio-cells":
    const: 2

  interrupt-gpios:
    type: phandle-array
    description: Active-low open-drain interrupt output

gpio-cells:
  - pin
  - flags
```

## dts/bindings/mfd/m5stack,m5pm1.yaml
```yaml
# SPDX-License-Identifier: MIT

description: M5Stack M5PM1 power-management controller

compatible: "m5stack,m5pm1"

include: [gpio-controller.yaml, i2c-device.yaml]

properties:
  "#gpio-cells":
    const: 2

  interrupt-gpios:
    type: phandle-array
    required: true
    description: ESP32 input connected to the selected M5PM1 IRQ output

  irq-output-pin:
    type: int
    required: true
    description: M5PM1 GPIO configured for the multiplexed IRQ output

gpio-cells:
  - pin
  - flags
```

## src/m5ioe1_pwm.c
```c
/* SPDX-License-Identifier: GPL-3.0-only */

#define DT_DRV_COMPAT m5stack_m5ioe1_pwm

#include <errno.h>
#include <stdint.h>

#include <zephyr/device.h>
#include <zephyr/drivers/pwm.h>
#include <zephyr/init.h>
#include <zephyr/sys/util.h>

#include <papermono/m5ioe1.h>

#define M5IOE1_PWM_CLOCK_HZ 1000000ULL

struct m5ioe1_pwm_config {
	const struct device *parent;
};

static int m5ioe1_pwm_set_cycles(const struct device *dev, uint32_t channel,
				  uint32_t period_cycles,
				  uint32_t pulse_cycles, pwm_flags_t flags)
{
	const struct m5ioe1_pwm_config *config = dev->config;
	uint64_t scaled;
	uint32_t frequency;
	uint16_t duty;

	if (channel >= M5IOE1_PWM_COUNT || period_cycles == 0U ||
	    pulse_cycles > period_cycles ||
	    (flags & ~PWM_POLARITY_MASK) != 0U) {
		return -EINVAL;
	}

	frequency = DIV_ROUND_CLOSEST(M5IOE1_PWM_CLOCK_HZ, period_cycles);
	if (frequency == 0U || frequency > UINT16_MAX) {
		return -EINVAL;
	}
	scaled = (uint64_t)pulse_cycles * 0x0FFFU;
	duty = (uint16_t)DIV_ROUND_CLOSEST(scaled, period_cycles);

	return m5ioe1_pwm_set(config->parent, channel, (uint16_t)frequency,
			       duty, (flags & PWM_POLARITY_INVERTED) != 0U,
			       pulse_cycles != 0U);
}

static int m5ioe1_pwm_get_cycles_per_sec(const struct device *dev,
					 uint32_t channel, uint64_t *cycles)
{
	ARG_UNUSED(dev);
	if (channel >= M5IOE1_PWM_COUNT) {
		return -EINVAL;
	}
	*cycles = M5IOE1_PWM_CLOCK_HZ;
	return 0;
}

static DEVICE_API(pwm, m5ioe1_pwm_api) = {
	.set_cycles = m5ioe1_pwm_set_cycles,
	.get_cycles_per_sec = m5ioe1_pwm_get_cycles_per_sec,
};

static int m5ioe1_pwm_init(const struct device *dev)
{
	const struct m5ioe1_pwm_config *config = dev->config;

	return device_is_ready(config->parent) ? 0 : -ENODEV;
}

#define M5IOE1_PWM_DEFINE(inst)                                              \
	static const struct m5ioe1_pwm_config m5ioe1_pwm_config_##inst = {     \
		.parent = DEVICE_DT_GET(DT_INST_PARENT(inst)),                    \
	};                                                                        \
	DEVICE_DT_INST_DEFINE(inst, m5ioe1_pwm_init, NULL, NULL,                   \
			      &m5ioe1_pwm_config_##inst, POST_KERNEL,             \
			      CONFIG_PAPERMONO_MFD_CHILD_INIT_PRIORITY,            \
			      &m5ioe1_pwm_api);

DT_INST_FOREACH_STATUS_OKAY(M5IOE1_PWM_DEFINE)
```

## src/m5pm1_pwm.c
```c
/* SPDX-License-Identifier: GPL-3.0-only */

#define DT_DRV_COMPAT m5stack_m5pm1_pwm

#include <errno.h>
#include <stdint.h>

#include <zephyr/device.h>
#include <zephyr/drivers/pwm.h>
#include <zephyr/init.h>
#include <zephyr/sys/util.h>

#include <papermono/m5pm1.h>

#define M5PM1_PWM_CLOCK_HZ 1000000ULL

struct m5pm1_pwm_config {
	const struct device *parent;
};

static int m5pm1_pwm_set_cycles(const struct device *dev, uint32_t channel,
				 uint32_t period_cycles,
				 uint32_t pulse_cycles, pwm_flags_t flags)
{
	const struct m5pm1_pwm_config *config = dev->config;
	uint64_t scaled;
	uint32_t frequency;
	uint16_t duty;

	if (channel >= M5PM1_PWM_COUNT || period_cycles == 0U ||
	    pulse_cycles > period_cycles ||
	    (flags & ~PWM_POLARITY_MASK) != 0U) {
		return -EINVAL;
	}

	frequency = DIV_ROUND_CLOSEST(M5PM1_PWM_CLOCK_HZ, period_cycles);
	if (frequency == 0U || frequency > UINT16_MAX) {
		return -EINVAL;
	}
	scaled = (uint64_t)pulse_cycles * 0x0FFFU;
	duty = (uint16_t)DIV_ROUND_CLOSEST(scaled, period_cycles);

	return m5pm1_pwm_set(config->parent, channel, (uint16_t)frequency,
			      duty, (flags & PWM_POLARITY_INVERTED) != 0U,
			      pulse_cycles != 0U);
}

static int m5pm1_pwm_get_cycles_per_sec(const struct device *dev,
					uint32_t channel, uint64_t *cycles)
{
	ARG_UNUSED(dev);
	if (channel >= M5PM1_PWM_COUNT) {
		return -EINVAL;
	}
	*cycles = M5PM1_PWM_CLOCK_HZ;
	return 0;
}

static DEVICE_API(pwm, m5pm1_pwm_api) = {
	.set_cycles = m5pm1_pwm_set_cycles,
	.get_cycles_per_sec = m5pm1_pwm_get_cycles_per_sec,
};

static int m5pm1_pwm_init(const struct device *dev)
{
	const struct m5pm1_pwm_config *config = dev->config;

	return device_is_ready(config->parent) ? 0 : -ENODEV;
}

#define M5PM1_PWM_DEFINE(inst)                                             \
	static const struct m5pm1_pwm_config m5pm1_pwm_config_##inst = {     \
		.parent = DEVICE_DT_GET(DT_INST_PARENT(inst)),                   \
	};                                                                       \
	DEVICE_DT_INST_DEFINE(inst, m5pm1_pwm_init, NULL, NULL,                   \
			      &m5pm1_pwm_config_##inst, POST_KERNEL,            \
			      CONFIG_PAPERMONO_MFD_CHILD_INIT_PRIORITY,          \
			      &m5pm1_pwm_api);

DT_INST_FOREACH_STATUS_OKAY(M5PM1_PWM_DEFINE)
```

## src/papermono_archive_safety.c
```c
/* SPDX-License-Identifier: GPL-3.0-only */

#include <errno.h>
#include <stdbool.h>
#include <stddef.h>
#include <string.h>

#include <papermono/archive_safety.h>
#include <papermono/text_codec.h>
#include <papermono/zip_reader.h>

#define ZIP_CENTRAL_SIZE_LIMIT (1024U * 1024U)
#define ZIP_MAX_NESTING 16U

bool papermono_zip_safe_path(const char *path)
{
	size_t length;
	uint8_t depth = 1U;
	const char *segment = path;

	if (path == NULL) {
		return false;
	}
	length = strnlen(path, PAPERMONO_ZIP_NAME_MAX + 1U);
	if (length == 0U || length > PAPERMONO_ZIP_NAME_MAX || path[0] == '/' ||
	    path[0] == '\\' || strchr(path, ':') != NULL ||
	    strchr(path, '\\') != NULL ||
	    !papermono_text_utf8_valid((const uint8_t *)path, length, false)) {
		return false;
	}
	for (size_t index = 0U; index <= length; ++index) {
		if (path[index] != '/' && path[index] != '\0') {
			continue;
		}
		const size_t segment_length = &path[index] - segment;

		if ((segment_length == 0U && path[index] != '\0') ||
		    (segment_length == 1U && segment[0] == '.') ||
		    (segment_length == 2U && segment[0] == '.' &&
		     segment[1] == '.')) {
			return false;
		}
		if (path[index] == '/') {
			if (++depth > ZIP_MAX_NESTING) {
				return false;
			}
			segment = &path[index + 1U];
		}
	}
	return true;
}

int papermono_archive_validate_limits(uint32_t entry_count,
	uint32_t central_size, uint64_t expanded_total)
{
	return entry_count == 0U || entry_count > PAPERMONO_ZIP_ENTRY_LIMIT ||
		central_size > ZIP_CENTRAL_SIZE_LIMIT ||
		expanded_total > PAPERMONO_ZIP_TOTAL_UNCOMPRESSED_LIMIT ?
		-EFBIG : 0;
}
```
